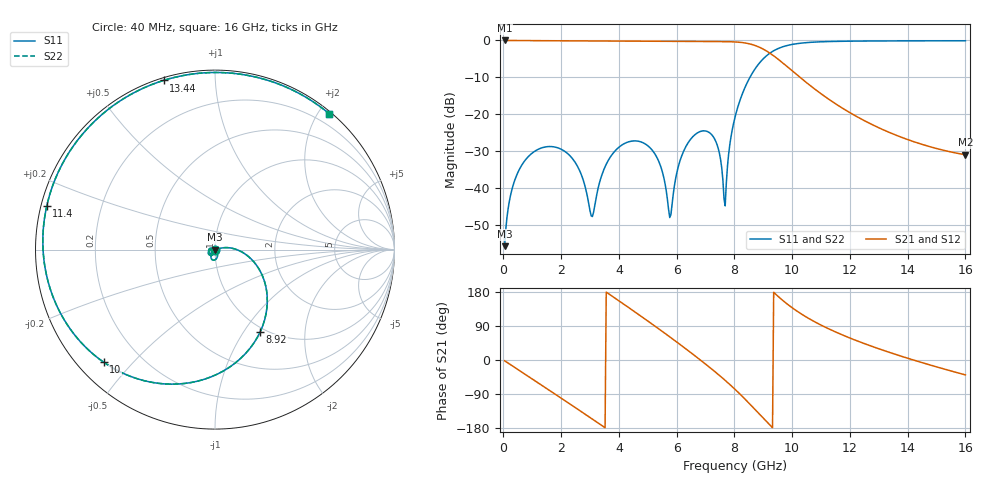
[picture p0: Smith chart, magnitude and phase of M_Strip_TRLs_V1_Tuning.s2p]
! Created Sun Apr 28 20:41:53 2024
# hz S db R 50
! 2 Port Network Data from SP1.SP block
! freq  dbS11  angS11  dbS21  angS21  dbS12  angS12  dbS22  angS22
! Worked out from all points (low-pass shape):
!   400 points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, 40 MHz to 16 GHz, reference 50 ohm
!   highest |S21| = -0.01 dB at 40 MHz (marker M1); lowest = -31.0 dB at 16 GHz (marker M2)
!   |S21| within 3 dB of the highest: start of sweep to 9.14 GHz
!   lowest |S11| = -55.8 dB at 40 MHz (marker M3), VSWR 1.00, Z = 50.1 - j0.121 ohm
!   |S11| at or under -10 dB: start of sweep to 8.538 GHz
!   |S22| runs from -55.8 to -0.1 dB; largest |S21 - S12| = 0
!   S11 on the Smith chart (normalised r, x): 40 MHz: 1.00, -0.00; 8.92 GHz: 0.95, -1.19; 10 GHz: 0.07, -0.41; 11.4 GHz: 0.02, +0.13; 13.44 GHz: 0.01, +0.74; 16 GHz: 0.03, +2.15
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4e7  -55.82 -48.3  -0.01 -2.0  -0.01 -2.0  -55.82 -48.3
3.2e8  -39.70 -92.2  -0.03 -16.2  -0.03 -16.2  -39.70 -92.2
9.2e8  -31.07 -127.7  -0.06 -46.3  -0.06 -46.3  -31.07 -127.7
1.8e9  -28.96 -172.7  -0.10 -90.6  -0.10 -90.6  -28.96 -172.7
2.72e9  -36.89 150.9  -0.12 -137.4  -0.12 -137.4  -36.89 150.9
3.08e9  -47.79 -144.9  -0.13 -156.0  -0.13 -156.0  -47.79 -144.9
3.92e9  -29.54 -113.3  -0.16 160.3  -0.16 160.3  -29.54 -113.3
5.36e9  -32.48 179.9  -0.21 83.2  -0.21 83.2  -32.48 179.9
5.76e9  -48.05 -131.0  -0.22 61.1  -0.22 61.1  -48.05 -131.0
6.24e9  -30.05 -64.3  -0.24 33.9  -0.24 33.9  -30.05 -64.3
7.12e9  -24.95 -109.4  -0.30 -18.1  -0.30 -18.1  -24.95 -109.4
7.48e9  -30.61 -125.9  -0.31 -40.7  -0.31 -40.7  -30.61 -125.9
7.68e9  -44.88 -32.5  -0.33 -53.8  -0.33 -53.8  -44.88 -32.5
7.8e9  -30.83 13.3  -0.35 -61.9  -0.35 -61.9  -30.83 13.3
8.04e9  -20.23 4.2  -0.42 -78.7  -0.42 -78.7  -20.23 4.2
8.92e9  -5.64 -61.1  -2.05 -147.5  -2.05 -147.5  -5.64 -61.1
1e10  -1.09 -134.7  -8.24 137.9  -8.24 137.9  -1.09 -134.7
1.068e10  -0.50 -167.2  -12.58 105.0  -12.58 105.0  -0.50 -167.2
1.14e10  -0.28 165.5  -16.66 77.5  -16.66 77.5  -0.28 165.5
1.336e10  -0.13 108.9  -24.94 20.3  -24.94 20.3  -0.13 108.9
1.344e10  -0.13 106.9  -25.21 18.3  -25.21 18.3  -0.13 106.9
1.6e10  -0.10 49.9  -31.03 -39.3  -31.03 -39.3  -0.10 49.9
